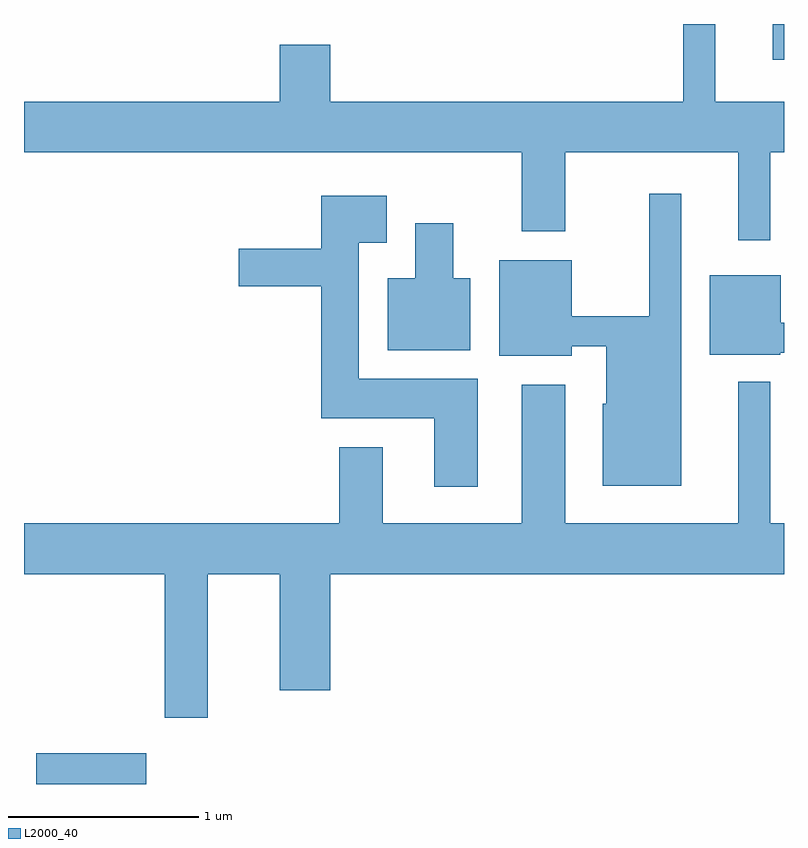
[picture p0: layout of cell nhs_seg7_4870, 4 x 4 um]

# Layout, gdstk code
import gdstk
lib = gdstk.Library(unit=1e-6, precision=1e-09)
def R(c, l, rs):  # rectangles x0, y0, x1, y1
    for r in rs: c.add(gdstk.rectangle(r[:2], r[2:], *l))
def P(c, l, *ps):  # polygons
    for p in ps: c.add(gdstk.Polygon(p, *l))
L2000_40 = (2000, 40)

nhs_seg7_4870 = lib.new_cell('nhs_seg7_4870')
R(nhs_seg7_4870, L2000_40, [(333.676,1784.252,334.254,1784.414), (337.551,1788.063,337.611,1788.252)])
P(nhs_seg7_4870, L2000_40, [(337.539,1787.576),(337.611,1787.576),(337.611,1787.844),(337.249,1787.844),(337.249,1788.252),(337.081,1788.252),(337.081,1787.844),(335.224,1787.844),(335.224,1788.144),(334.956,1788.144),(334.956,1787.844),(333.611,1787.844),(333.611,1787.576),(336.231,1787.576),(336.231,1787.161),(336.459,1787.161),(336.459,1787.576),(337.371,1787.576),(337.371,1787.113),(337.539,1787.113)],
  [(337.069,1787.358),(336.901,1787.358),(336.901,1786.714),(336.494,1786.714),(336.494,1787.009),(336.111,1787.009),(336.111,1786.506),(336.494,1786.506),(336.494,1786.556),(336.676,1786.556),(336.676,1786.254),(336.656,1786.254),(336.656,1785.821),(337.069,1785.821)],
  [(335.999,1786.384),(335.374,1786.384),(335.374,1787.101),(335.519,1787.101),(335.519,1787.349),(335.176,1787.349),(335.176,1787.069),(334.741,1787.069),(334.741,1786.871),(335.176,1786.871),(335.176,1786.176),(335.771,1786.176),(335.771,1785.816),(335.999,1785.816)],
  [(335.959,1786.914),(335.869,1786.914),(335.869,1787.204),(335.671,1787.204),(335.671,1786.914),(335.526,1786.914),(335.526,1786.536),(335.959,1786.536)],
  [(337.59,1786.521),(337.611,1786.521),(337.611,1786.679),(337.594,1786.679),(337.594,1786.929),(337.221,1786.929),(337.221,1786.511),(337.59,1786.511)],
  [(334.579,1785.356),(334.956,1785.356),(334.956,1784.746),(335.224,1784.746),(335.224,1785.356),(337.611,1785.356),(337.611,1785.624),(337.539,1785.624),(337.539,1786.368),(337.371,1786.368),(337.371,1785.624),(336.459,1785.624),(336.459,1786.354),(336.231,1786.354),(336.231,1785.624),(335.499,1785.624),(335.499,1786.024),(335.271,1786.024),(335.271,1785.624),(333.611,1785.624),(333.611,1785.356),(334.351,1785.356),(334.351,1784.601),(334.579,1784.601)])

lib.write_gds('nhs_seg7_4870.gds')
